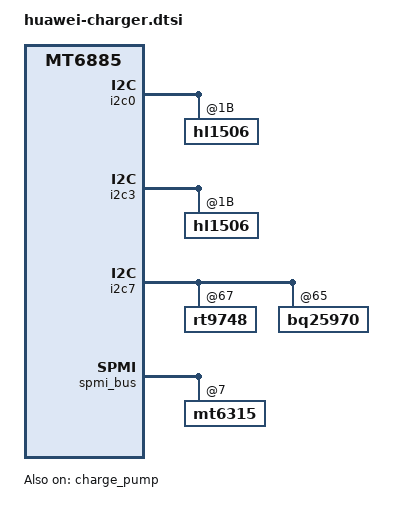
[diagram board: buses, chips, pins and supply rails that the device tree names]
#include "../huawei_charger/mt6885_oce_huawei_charger.dtsi"

&pio {
	mt6315_irq2_pins_default: mt6315_irq2_pins_default {
		pins_cmd_dat {
			pinmux = <PINMUX_GPIO188__FUNC_GPIO188>;
			slew-rate = <0>;
			input-enable;
			bias-pull-down;
		};
	};
};

&i2c0 {
	hl1506@1B {
		status = "ok";
	};
};

&i2c3 {
	hl1506@1B {
		status = "ok";
	};
};

&i2c7 {
	rt9748@67 {
		sense_r_mohm = <20>;
	};

	bq25970@65 {
		sense_r_config = <20>;
		sense_r_actual = <20>;
	};
};

&charge_pump {
	gpio_main_en = <&pio 76 0x0>;
	gpio_main_cp_en_val = <0>;
	gpio_aux_en = <&pio 133 0x0>;
	gpio_aux_cp_en_val = <1>;
	status = "ok";
};

&wireless_ps {
	gpio_rxsw = <&pio 99 0x0>;
	gpio_rxsw_aux = <&pio 147 0x0>;
	gpio_rxsw_aux_valid_val = <0>;
};

&wireless_sc {
	support_multi_cp = <1>;
};

&bat_gm30 {
	CAR_TUNE_VALUE = <(250)>;
};

&spmi_bus {
#ifndef CONFIG_FPGA_EARLY_PORTING
	mt6315@7 {
		mt6315_7_regulator {
			pinctrl-names = "default";
			pinctrl-0 = <&mt6315_irq2_pins_default>;
			interrupts = <188 IRQ_TYPE_LEVEL_HIGH 188 0>;
		};
	};
#endif
};

&usb_short_circuit_protect {
	gpio_usb_short_circuit_protect = <&pio 70 0>;
};
